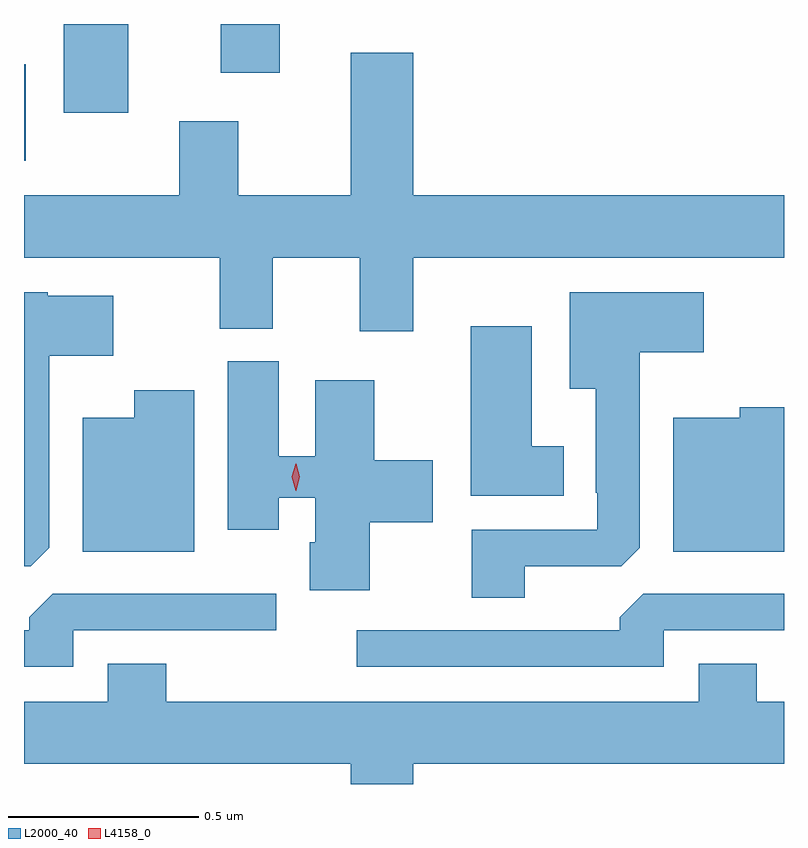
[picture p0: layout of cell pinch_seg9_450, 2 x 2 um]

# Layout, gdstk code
import gdstk
lib = gdstk.Library(unit=1e-6, precision=1e-09)
def R(c, l, rs):  # rectangles x0, y0, x1, y1
    for r in rs: c.add(gdstk.rectangle(r[:2], r[2:], *l))
def P(c, l, *ps):  # polygons
    for p in ps: c.add(gdstk.Polygon(p, *l))
L2000_40 = (2000, 40)
L4158_0 = (4158, 0)

pinch_seg9_450 = lib.new_cell('pinch_seg9_450')
R(pinch_seg9_450, L2000_40, [(140.172,1247.291,140.176,1247.545), (140.276,1247.417,140.446,1247.651), (140.69,1247.523,140.845,1247.651)])
P(pinch_seg9_450, L2000_40, [(141.196,1247.036),(142.172,1247.036),(142.172,1247.2),(141.196,1247.2),(141.196,1247.575),(141.032,1247.575),(141.032,1247.2),(140.736,1247.2),(140.736,1247.395),(140.581,1247.395),(140.581,1247.2),(140.172,1247.2),(140.172,1247.036),(140.687,1247.036),(140.687,1246.849),(140.827,1246.849),(140.827,1247.036),(141.056,1247.036),(141.056,1246.842),(141.196,1246.842)],
  [(141.49,1246.224),(141.744,1246.224),(141.793,1246.273),(141.793,1246.787),(141.961,1246.787),(141.961,1246.945),(141.608,1246.945),(141.608,1246.691),(141.677,1246.691),(141.677,1246.417),(141.681,1246.417),(141.681,1246.32),(141.35,1246.32),(141.35,1246.141),(141.49,1246.141)],
  [(140.239,1246.273),(140.239,1246.778),(140.407,1246.778),(140.407,1246.936),(140.235,1246.936),(140.235,1246.945),(140.172,1246.945),(140.172,1246.224),(140.19,1246.224)],
  [(141.592,1246.54),(141.508,1246.54),(141.508,1246.855),(141.347,1246.855),(141.347,1246.409),(141.592,1246.409)],
  [(141.082,1246.34),(141.247,1246.34),(141.247,1246.503),(141.094,1246.503),(141.094,1246.714),(140.939,1246.714),(140.939,1246.513),(140.842,1246.513),(140.842,1246.764),(140.708,1246.764),(140.708,1246.32),(140.842,1246.32),(140.842,1246.404),(140.939,1246.404),(140.939,1246.287),(140.924,1246.287),(140.924,1246.161),(141.082,1246.161)],
  [(140.62,1246.687),(140.462,1246.687),(140.462,1246.615),(140.327,1246.615),(140.327,1246.262),(140.62,1246.262)],
  [(142.172,1246.642),(142.056,1246.642),(142.056,1246.615),(141.881,1246.615),(141.881,1246.262),(142.172,1246.262)],
  [(140.301,1246.056),(140.836,1246.056),(140.836,1246.152),(140.247,1246.152),(140.186,1246.09),(140.186,1246.056),(140.172,1246.056),(140.172,1245.96),(140.301,1245.96)],
  [(141.855,1246.056),(142.172,1246.056),(142.172,1246.152),(141.801,1246.152),(141.74,1246.09),(141.74,1246.056),(141.048,1246.056),(141.048,1245.96),(141.855,1245.96)],
  [(141.196,1245.704),(142.172,1245.704),(142.172,1245.868),(142.1,1245.868),(142.1,1245.967),(141.947,1245.967),(141.947,1245.868),(140.546,1245.868),(140.546,1245.967),(140.393,1245.967),(140.393,1245.868),(140.172,1245.868),(140.172,1245.704),(141.032,1245.704),(141.032,1245.651),(141.196,1245.651)])
P(pinch_seg9_450, L4158_0, [(140.887,1246.423),(140.887,1246.423),(140.877,1246.459),(140.887,1246.494),(140.887,1246.494),(140.888,1246.494),(140.897,1246.459),(140.888,1246.423)])

lib.write_gds('pinch_seg9_450.gds')
